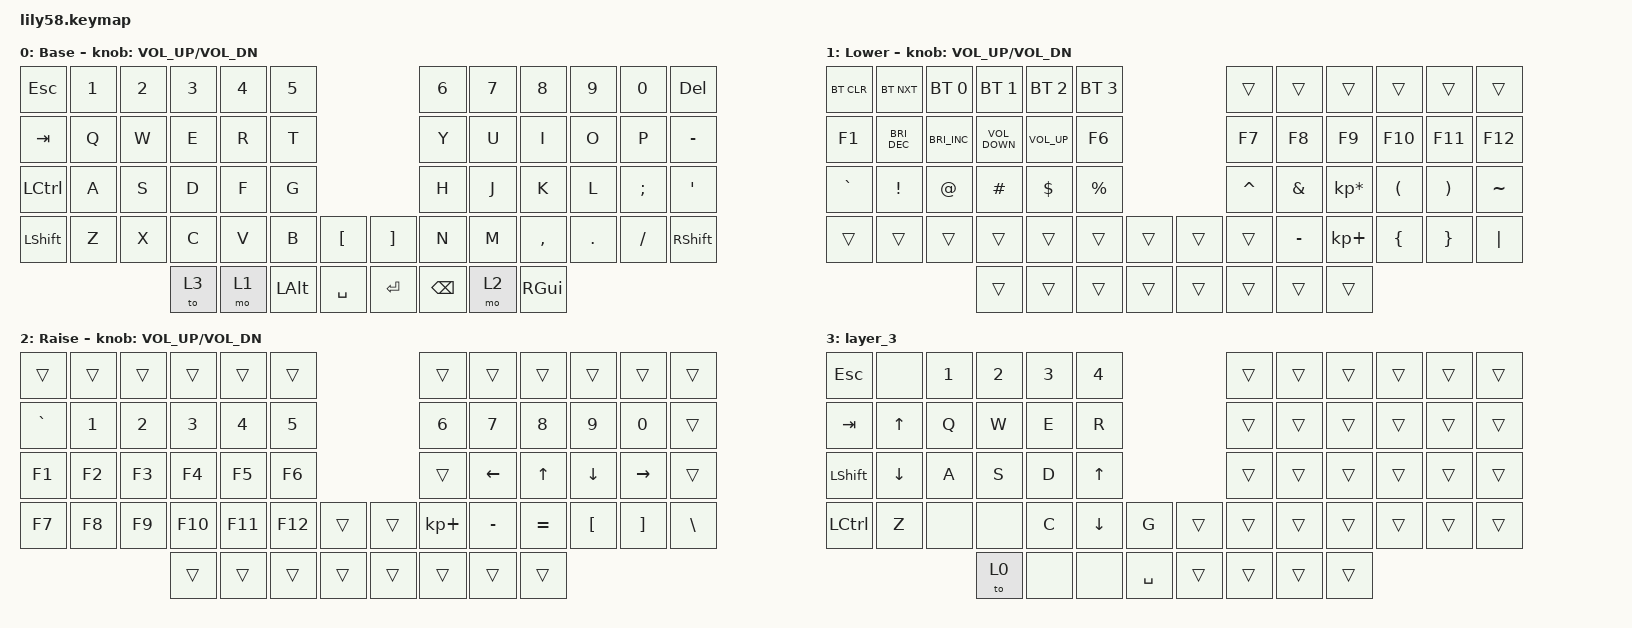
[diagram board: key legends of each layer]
/*
 * Copyright (c) 2020 The ZMK Contributors
 *
 * SPDX-License-Identifier: MIT
 */

#include <behaviors.dtsi>
#include <dt-bindings/zmk/bt.h>
#include <dt-bindings/zmk/keys.h>

/ {
    keymap {
        compatible = "zmk,keymap";

        default_layer {
            // ------------------------------------------------------------------------------------------------------------
            // |  ESC  |  1  |  2  |  3   |  4   |  5   |                   |  6   |  7    |  8    |  9   |   0   |   `   |
            // |  TAB  |  Q  |  W  |  E   |  R   |  T   |                   |  Y   |  U    |  I    |  O   |   P   |   -   |
            // |  CTRL |  A  |  S  |  D   |  F   |  G   |                   |  H   |  J    |  K    |  L   |   ;   |   '   |
            // | SHIFT |  Z  |  X  |  C   |  V   |  B   |   "["  |  |  "]"  |  N   |  M    |  ,    |  .   |   /   | SHIFT |
            //                     | ALT  | GUI  | LOWER|  SPACE |  | ENTER | RAISE| BSPC  | GUI   |

            label = "Base";
            bindings = <
&kp ESC           &kp N1  &kp N2  &kp N3  &kp N4  &kp N5                               &kp N6         &kp N7  &kp N8     &kp N9   &kp N0    &kp DELETE
&kp TAB           &kp Q   &kp W   &kp E   &kp R   &kp T                                &kp Y          &kp U   &kp I      &kp O    &kp P     &kp MINUS
&kp LEFT_CONTROL  &kp A   &kp S   &kp D   &kp F   &kp G                                &kp H          &kp J   &kp K      &kp L    &kp SEMI  &kp SQT
&kp LEFT_SHIFT    &kp Z   &kp X   &kp C   &kp V   &kp B         &kp LBKT     &kp RBKT  &kp N          &kp M   &kp COMMA  &kp DOT  &kp FSLH  &kp RSHFT
                                  &to 3   &mo 1   &kp LEFT_ALT  &kp SPACE    &kp RET   &kp BACKSPACE  &mo 2   &kp RGUI
            >;

            sensor-bindings = <&inc_dec_kp C_VOL_UP C_VOL_DN>;
        };

        lower_layer {
            // ------------------------------------------------------------------------------------------------------------
            // | BTCLR | BT1 | BT2 |  BT3 |  BT4 |  BT5 |                   |      |       |       |      |       |       |
            // |  F1   |  F2 |  F3 |  F4  |  F5  |  F6  |                   |  F7  |  F8   |  F9   |  F10 |  F11  |  F12  |
            // |   `   |  !  |  @  |  #   |  $   |  %   |                   |  ^   |  &    |  *    |  (   |   )   |   ~   |
            // |       |     |     |      |      |      |        |  |       |      |  _    |  +    |  {   |   }   |  "|"  |
            //                     |      |      |      |        |  |       |      |       |       |

            label = "Lower";
            bindings = <
&bt BT_CLR  &bt BT_NXT            &bt BT_SEL 0          &bt BT_SEL 1       &bt BT_SEL 2     &bt BT_SEL 3                    &trans     &trans     &trans           &trans    &trans    &trans
&kp F1      &kp C_BRIGHTNESS_DEC  &kp C_BRIGHTNESS_INC  &kp C_VOLUME_DOWN  &kp C_VOLUME_UP  &kp F6                          &kp F7     &kp F8     &kp F9           &kp F10   &kp F11   &kp F12
&kp GRAVE   &kp EXCL              &kp AT                &kp HASH           &kp DOLLAR       &kp PRCNT                       &kp CARET  &kp AMPS   &kp KP_MULTIPLY  &kp LPAR  &kp RPAR  &kp TILDE
&trans      &trans                &trans                &trans             &trans           &trans        &trans    &trans  &trans     &kp MINUS  &kp KP_PLUS      &kp LBRC  &kp RBRC  &kp PIPE
                                                        &trans             &trans           &trans        &trans    &trans  &trans     &trans     &trans
            >;

            sensor-bindings = <&inc_dec_kp C_VOL_UP C_VOL_DN>;
        };

        raise_layer {
            // ------------------------------------------------------------------------------------------------------------
            // |       |     |     |      |      |      |                   |      |       |       |      |       |       |
            // |   `   |  1  |  2  |  3   |  4   |  5   |                   |  6   |   7   |   8   |  9   |   0   |       |
            // |   F1  |  F2 |  F3 |  F4  |  F5  |  F6  |                   |      |   <-  |   v   |  ^   |  ->   |       |
            // |   F7  |  F8 |  F9 |  F10 |  F11 |  F12 |        |  |       |  +   |   -   |   =   |  [   |   ]   |   \   |
            //                     |      |      |      |        |  |       |      |       |       |

            label = "Raise";
            bindings = <
&trans     &trans  &trans  &trans   &trans   &trans                     &trans       &trans     &trans        &trans    &trans     &trans
&kp GRAVE  &kp N1  &kp N2  &kp N3   &kp N4   &kp N5                     &kp N6       &kp N7     &kp N8        &kp N9    &kp N0     &trans
&kp F1     &kp F2  &kp F3  &kp F4   &kp F5   &kp F6                     &trans       &kp LEFT   &kp UP_ARROW  &kp DOWN  &kp RIGHT  &trans
&kp F7     &kp F8  &kp F9  &kp F10  &kp F11  &kp F12  &trans    &trans  &kp KP_PLUS  &kp MINUS  &kp EQUAL     &kp LBKT  &kp RBKT   &kp BSLH
                           &trans   &trans   &trans   &trans    &trans  &trans       &trans     &trans
            >;

            sensor-bindings = <&inc_dec_kp C_VOL_UP C_VOL_DN>;
        };

        layer_3 {
            bindings = <
&kp ESCAPE        &none           &kp NUMBER_1  &kp NUMBER_2  &kp NUMBER_3  &kp NUMBER_4                         &trans  &trans  &trans  &trans  &trans  &trans
&kp TAB           &kp UP_ARROW    &kp Q         &kp W         &kp E         &kp R                                &trans  &trans  &trans  &trans  &trans  &trans
&kp LEFT_SHIFT    &kp DOWN_ARROW  &kp A         &kp S         &kp D         &kp UP_ARROW                         &trans  &trans  &trans  &trans  &trans  &trans
&kp LEFT_CONTROL  &kp Z           &none         &none         &kp C         &kp DOWN_ARROW  &kp G        &trans  &trans  &trans  &trans  &trans  &trans  &trans
                                                &to 0         &none         &none           &kp SPACE    &trans  &trans  &trans  &trans
            >;
        };
    };
};
